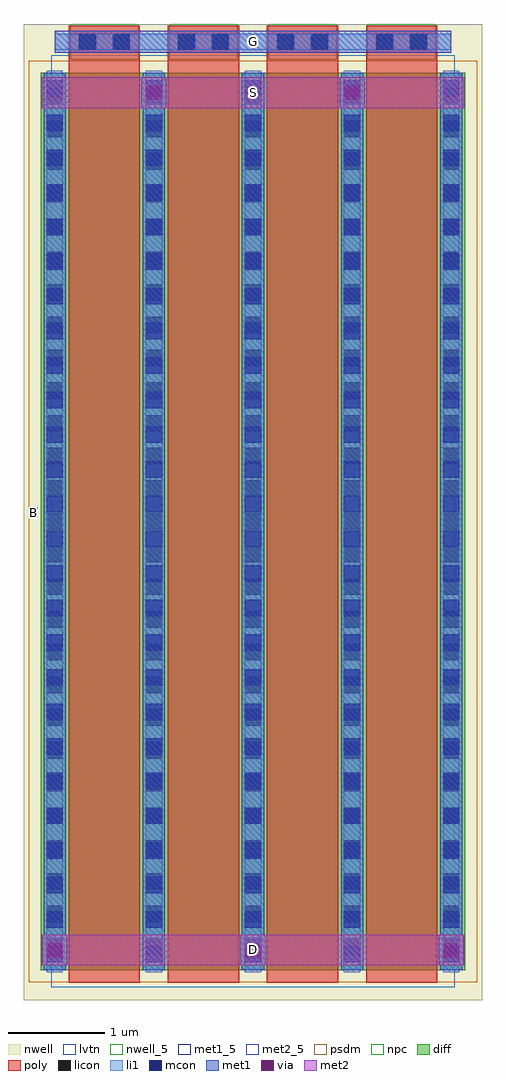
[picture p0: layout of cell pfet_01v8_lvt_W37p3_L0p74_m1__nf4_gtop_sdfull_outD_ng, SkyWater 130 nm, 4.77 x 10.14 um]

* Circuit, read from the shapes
.subckt pfet_01v8_lvt_W37p3_L0p74_m1__nf4_gtop_sdfull_outD_ng B D G S
XM1 S G D B sky130_fd_pr__pfet_01v8_lvt w=9.33 l=0.74 m=4
.ends

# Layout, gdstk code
import gdstk
lib = gdstk.Library(unit=1e-6, precision=1e-09)
def R(c, l, rs):  # rectangles x0, y0, x1, y1
    for r in rs: c.add(gdstk.rectangle(r[:2], r[2:], *l))
def A(c, l, x, y, w, h, nx, ny, dx, dy):  # array of equal rectangles
    R(c, l, [(x+i*dx, y+j*dy, x+i*dx+w, y+j*dy+h) for i in range(nx) for j in range(ny)])
nwell_5 = (64, 5)
nwell = (64, 20)
diff = (65, 20)
poly = (66, 20)
licon = (66, 44)
li1 = (67, 20)
mcon = (67, 44)
met1_5 = (68, 5)
met1 = (68, 20)
via = (68, 44)
met2_5 = (69, 5)
met2 = (69, 20)
psdm = (94, 20)
npc = (95, 20)
lvtn = (125, 44)

sky130_fd_pr__pfet_01v8_ = lib.new_cell('sky130_fd_pr__pfet_01v8_lvt_8UWKCB')
R(sky130_fd_pr__pfet_01v8_, nwell, [(-2.385,-5.155,2.385,4.985)])
R(sky130_fd_pr__pfet_01v8_, diff, [(-2.205,-4.845,2.205,4.485)])
A(sky130_fd_pr__pfet_01v8_, poly, -1.915, -4.975, 0.74, 9.945, 4, 1, 1.03, 0)
A(sky130_fd_pr__pfet_01v8_, licon, -2.145, -4.685, 0.17, 0.17, 5, 27, 1.03, 0.34)
R(sky130_fd_pr__pfet_01v8_, licon, [(-1.8,4.72,-1.63,4.89), (-1.46,4.72,-1.29,4.89), (-0.77,4.72,-0.6,4.89), (-0.43,4.72,-0.26,4.89), (0.26,4.72,0.43,4.89), (0.6,4.72,0.77,4.89), (1.29,4.72,1.46,4.89), (1.63,4.72,1.8,4.89)])
A(sky130_fd_pr__pfet_01v8_, li1, -2.145, -4.865, 0.17, 9.37, 5, 1, 1.03, 0)
R(sky130_fd_pr__pfet_01v8_, li1, [(-2.06,4.72,2.06,4.89)])
A(sky130_fd_pr__pfet_01v8_, mcon, -2.145, -4.765, 0.17, 0.17, 5, 26, 1.03, 0.36)
R(sky130_fd_pr__pfet_01v8_, mcon, [(-1.81,4.72,-1.64,4.89), (-1.45,4.72,-1.28,4.89), (-0.78,4.72,-0.61,4.89), (-0.42,4.72,-0.25,4.89), (0.25,4.72,0.42,4.89), (0.61,4.72,0.78,4.89), (1.28,4.72,1.45,4.89), (1.64,4.72,1.81,4.89)])
A(sky130_fd_pr__pfet_01v8_, met1, -2.175, -4.845, 0.23, 9.33, 5, 1, 1.03, 0)
A(sky130_fd_pr__pfet_01v8_, met1, -1.895, 4.69, 0.7, 0.03, 4, 2, 1.03, 0.2)
R(sky130_fd_pr__pfet_01v8_, met1, [(-2.06,4.72,2.06,4.89)])
R(sky130_fd_pr__pfet_01v8_, psdm, [(-2.33,-4.97,2.33,4.61)])
A(sky130_fd_pr__pfet_01v8_, npc, -1.9, 4.62, 0.71, 0.37, 4, 1, 1.03, 0)
R(sky130_fd_pr__pfet_01v8_, lvtn, [(-2.095,-5.025,2.095,4.665)])
sky130_fd_pr__pfet_01v8_.add(gdstk.Label('D0', (-2.06,-0.18), layer=67, texttype=5))
sky130_fd_pr__pfet_01v8_.add(gdstk.Label('G', (1.545,4.805), layer=67, texttype=5))
sky130_fd_pr__pfet_01v8_.add(gdstk.Label('G', (0.515,4.805), layer=67, texttype=5))
sky130_fd_pr__pfet_01v8_.add(gdstk.Label('G', (-0.515,4.805), layer=67, texttype=5))
sky130_fd_pr__pfet_01v8_.add(gdstk.Label('G', (-1.545,4.805), layer=67, texttype=5))
sky130_fd_pr__pfet_01v8_.add(gdstk.Label('S1', (-1.03,-0.18), layer=67, texttype=5))
sky130_fd_pr__pfet_01v8_.add(gdstk.Label('D2', (0,-0.18), layer=67, texttype=5))
sky130_fd_pr__pfet_01v8_.add(gdstk.Label('S3', (1.03,-0.18), layer=67, texttype=5))

pfet_01v8_lvt_w37p3_l0p7 = lib.new_cell('pfet_01v8_lvt_W37p3_L0p74_m1__nf4_gtop_sdfull_outD_ng')
R(pfet_01v8_lvt_w37p3_l0p7, nwell_5, [(0.05,5.02,0.15,5.12)])
R(pfet_01v8_lvt_w37p3_l0p7, nwell, [(0.05,5.02,0.15,5.12)])
R(pfet_01v8_lvt_w37p3_l0p7, met1_5, [(0.325,9.845,4.445,10.075)])
A(pfet_01v8_lvt_w37p3_l0p7, met1, 0.195, 0.36, 0.26, 0.32, 3, 1, 2.06, 0)
R(pfet_01v8_lvt_w37p3_l0p7, met1, [(1.225,9.27,1.485,9.59), (3.285,9.27,3.545,9.59), (0.325,9.845,4.445,10.075)])
A(pfet_01v8_lvt_w37p3_l0p7, via, 0.25, 0.445, 0.15, 0.15, 3, 1, 2.06, 0)
R(pfet_01v8_lvt_w37p3_l0p7, via, [(1.28,9.355,1.43,9.505), (3.34,9.355,3.49,9.505)])
R(pfet_01v8_lvt_w37p3_l0p7, met2_5, [(0.19,0.36,4.58,0.68), (0.19,9.27,4.58,9.59)])
R(pfet_01v8_lvt_w37p3_l0p7, met2, [(0.19,0.36,4.58,0.68), (0.19,9.27,4.58,9.59)])
pfet_01v8_lvt_w37p3_l0p7.add(gdstk.Reference(sky130_fd_pr__pfet_01v8_, (2.385,5.155)))
pfet_01v8_lvt_w37p3_l0p7.add(gdstk.Label('S', (2.385,9.43), layer=69, texttype=5))
pfet_01v8_lvt_w37p3_l0p7.add(gdstk.Label('D', (2.385,0.52), layer=69, texttype=5))
pfet_01v8_lvt_w37p3_l0p7.add(gdstk.Label('G', (2.385,9.96), layer=68, texttype=5))
pfet_01v8_lvt_w37p3_l0p7.add(gdstk.Label('B', (0.1,5.07), layer=64, texttype=5))

lib.write_gds('pfet_01v8_lvt_W37p3_L0p74_m1__nf4_gtop_sdfull_outD_ng.gds')
